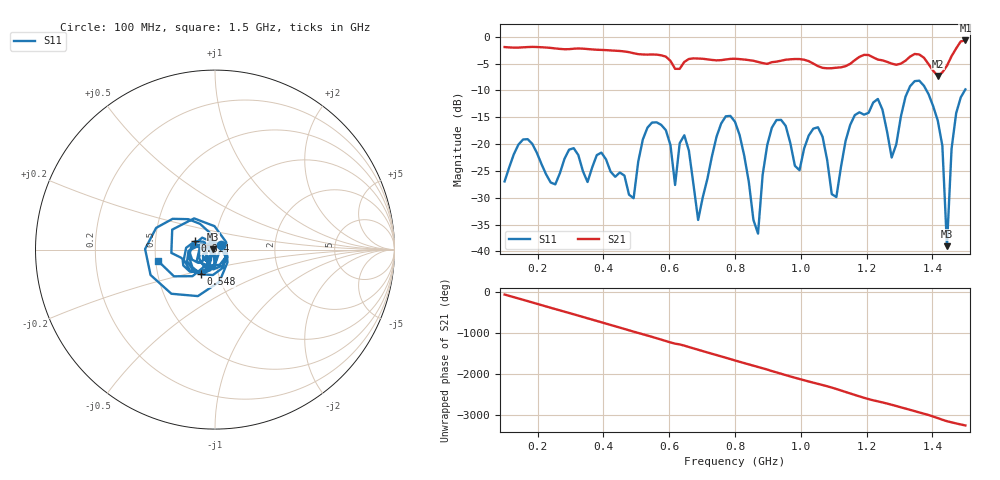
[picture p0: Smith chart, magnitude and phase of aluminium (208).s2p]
! NanoVNA-App
! Date: 2025-09-25 14:56:54
! Start: 100MHz Stop: 1,5GHz Points: 101
! S-Parameter data: F S11 S21 S12 S22
# Hz S RI R 50
!  Frequency  S11_Real  S11_Imag  S21_Real  S21_Imag  S12_Real  S12_Imag  S22_Real  S22_Imag
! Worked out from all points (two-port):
!   101 points, 100 MHz to 1.5 GHz, reference 50 ohm
!   highest |S21| = -0.69 dB at 1.5 GHz (marker M1); lowest = -7.3 dB at 1.416 GHz (marker M2)
!   |S21| within 3 dB of the highest: start of sweep to 588.8 MHz; 1.457 GHz to end of sweep (the widest 2 of 4)
!   lowest |S11| = -39.0 dB at 1.444 GHz (marker M3), VSWR 1.02, Z = 48.9 + j0.0932 ohm
!   |S11| at or under -10 dB: start of sweep to 1.326 GHz; 1.382 GHz to 1.498 GHz (116.4 MHz wide, 8.08 % of centre)
!   S12 and S22 are empty: the file has one direction only
!   S11 on the Smith chart (normalised r, x): 100 MHz: 1.07, +0.06; 548 MHz: 0.82, -0.23; 814 MHz: 0.79, +0.07; 1.5 GHz: 0.52, -0.07
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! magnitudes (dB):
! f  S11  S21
! 100 MHz  -27.0  -1.9
! 338 MHz  -25.1  -2.2
! 492 MHz  -30.1  -3.1
! 548 MHz  -16.0  -3.3
! 576 MHz  -16.4  -3.5
! 618 MHz  -27.6  -6.0
! 646 MHz  -18.4  -4.7
! 688 MHz  -34.1  -4.1
! 800 MHz  -15.9  -4.1
! 814 MHz  -18.3  -4.2
! 870 MHz  -36.7  -4.7
! 912 MHz  -16.9  -4.7
! 1.038 GHz  -17.1  -5.0
! 1.108 GHz  -29.9  -5.8
! 1.164 GHz  -14.6  -4.4
! 1.234 GHz  -11.6  -4.3
! 1.276 GHz  -22.5  -5.0
! 1.346 GHz  -8.3  -3.2
! 1.416 GHz  -15.6  -7.3
! 1.444 GHz  -39.0  -5.4
! 1.458 GHz  -20.9  -3.6
! 1.5 GHz  -9.8  -0.7
